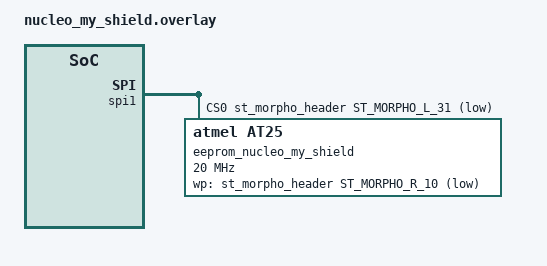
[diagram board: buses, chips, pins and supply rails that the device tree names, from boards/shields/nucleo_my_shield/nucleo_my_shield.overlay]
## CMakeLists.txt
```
cmake_minimum_required(VERSION 3.20.0)

list(APPEND BOARD_ROOT ${CMAKE_CURRENT_SOURCE_DIR})

find_package(Zephyr REQUIRED HINTS $ENV{ZEPHYR_BASE})
project(app)

target_sources(app PRIVATE src/main.c)
```

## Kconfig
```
menu "Zephyr"
source "Kconfig.zephyr"
endmenu

module = APP
module-str = application
source "subsys/logging/Kconfig.template.log_config"
```

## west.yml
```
manifest:
  remotes:
    - name: zephyrproject-rtos
      url-base: https://github.com/zephyrproject-rtos

  projects:
    - name: zephyr
      remote: zephyrproject-rtos
      revision: v3.7.0
      import:
        name-allowlist:
          - cmsis
          - hal_stm32
          - hal_nordic
          - littlefs
          - mbedtls
          - mcuboot
          - segger
          - tinycrypt
          - zcbor
```

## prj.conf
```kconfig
CONFIG_SPI=y
CONFIG_I2C=y
CONFIG_EEPROM=y
CONFIG_SENSOR=y
```

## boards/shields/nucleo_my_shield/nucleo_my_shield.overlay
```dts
 #include <zephyr/dt-bindings/spi/spi.h>
 #include <zephyr/dt-bindings/gpio/gpio.h>
 #include <zephyr/dt-bindings/gpio/st-morpho-header.h>
  
 &spi1 {
   cs-gpios = <&st_morpho_header ST_MORPHO_L_31 GPIO_ACTIVE_LOW>;
 
   /* EEPROM on SPI1 using SW controlled CSn pin. */
   eeprom_nucleo_my_shield: st_m95640_df@0 {
     compatible = "atmel,at25";
     reg = <0>;
     size = <DT_SIZE_K(8)>;
     pagesize = <32>;
     address-width = <16>;
     timeout = <5>;
     wp-gpios = <&st_morpho_header ST_MORPHO_R_10 GPIO_ACTIVE_LOW>;
     spi-max-frequency = <DT_FREQ_M(20)>;
     duplex = <SPI_FULL_DUPLEX>;
     frame-format = <SPI_FRAME_FORMAT_MOTOROLA>;
   };
 };
```

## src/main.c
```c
#include <zephyr/kernel.h>

int main(void)
{
  while(true)
  {
    k_sleep(K_MSEC(100));
  }

  return 0;
}
```
